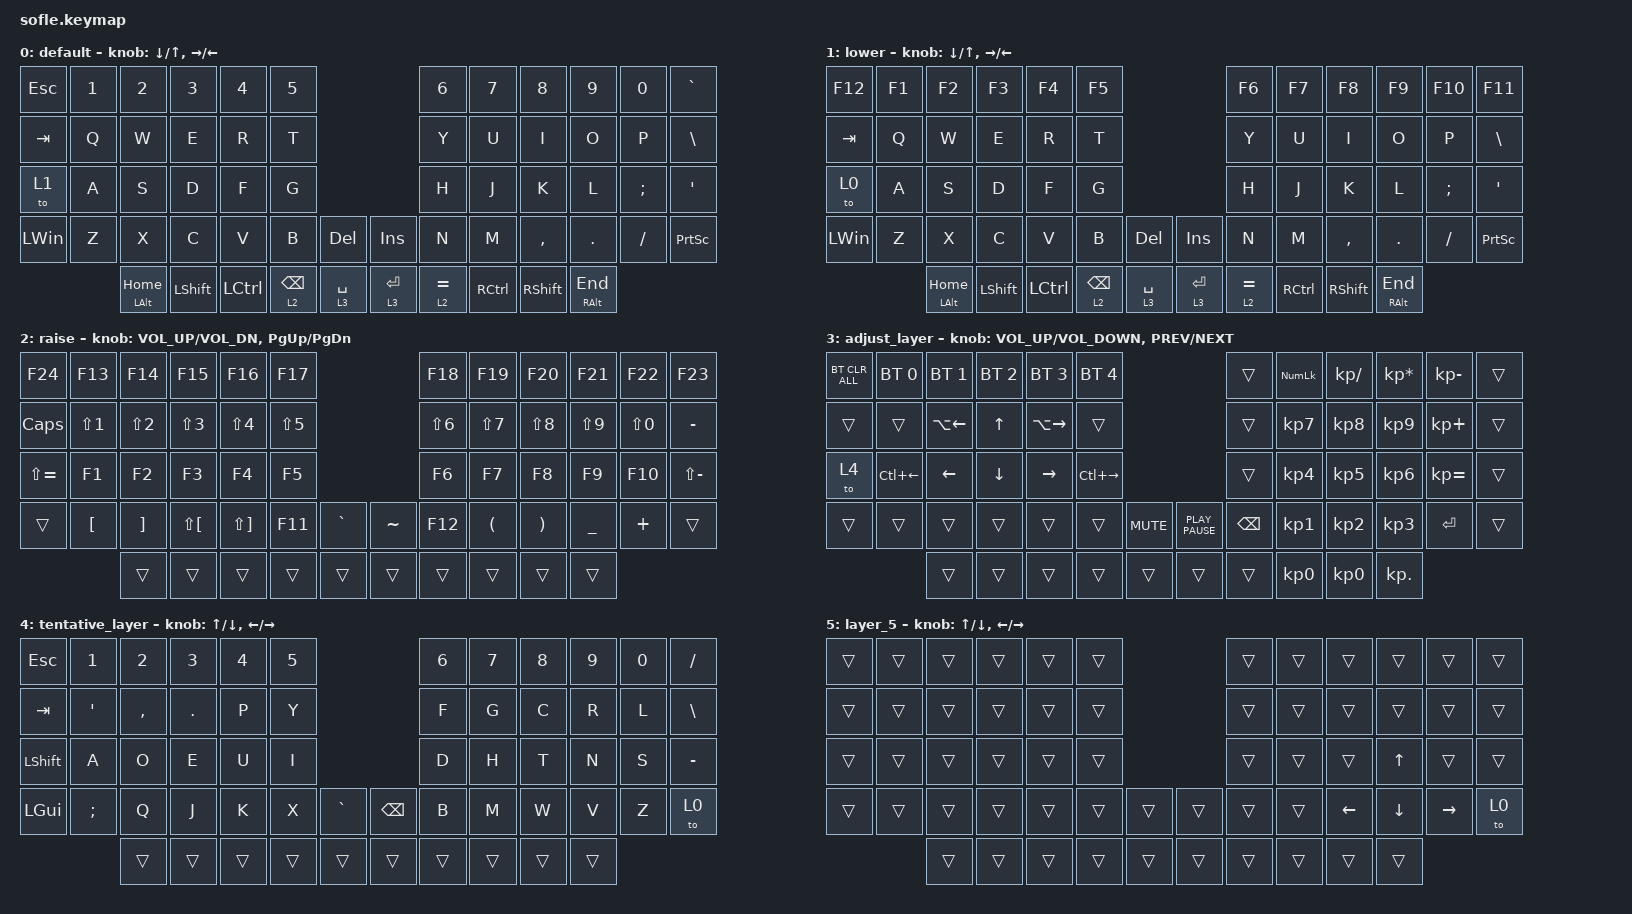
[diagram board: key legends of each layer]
/*
 * Copyright (c) 2020 The ZMK Contributors
 *
 * SPDX-License-Identifier: MIT
 */

#include <behaviors.dtsi>
#include <dt-bindings/zmk/bt.h>
#include <dt-bindings/zmk/keys.h>

#define BASE 0
#define LOWER 1
#define RAISE 2
#define ADJUST 3
#define TENTATIVE 4

/ {
    // Activate ADJUST layer by pressing raise and lower

    conditional_layers { compatible = "zmk,conditional-layers"; };

    keymap {
        compatible = "zmk,keymap";

        default_layer {
            display-name = "default";

            // ------------------------------------------------------------------------------------------------------------
            // |   `   |  1  |  2  |  3   |  4   |  5   |                   |  6   |  7    |  8    |  9   |   0   |       |
            // |  ESC  |  Q  |  W  |  E   |  R   |  T   |                   |  Y   |  U    |  I    |  O   |   P   | BKSPC |
            // |  TAB  |  A  |  S  |  D   |  F   |  G   |                   |  H   |  J    |  K    |  L   |   ;   |   '   |
            // | SHIFT |  Z  |  X  |  C   |  V   |  B   |  MUTE  |  |       |  N   |  M    |  ,    |  .   |   /   | SHIFT |
            //               | GUI | ALT  | CTRL | LOWER|  ENTER |  | SPACE | RAISE| CTRL  | ALT   | GUI  |

            bindings = <
&kp ESCAPE  &kp N1  &kp N2         &kp N3     &kp N4     &kp N5                                       &kp N6       &kp N7     &kp N8     &kp N9        &kp N0    &kp GRAVE
&kp TAB     &kp Q   &kp W          &kp E      &kp R      &kp T                                        &kp Y        &kp U      &kp I      &kp O         &kp P     &kp BACKSLASH
&to 1       &kp A   &kp S          &kp D      &kp F      &kp G                                        &kp H        &kp J      &kp K      &kp L         &kp SEMI  &kp SQT
&kp LWIN    &kp Z   &kp X          &kp C      &kp V      &kp B            &kp DEL        &kp INS      &kp N        &kp M      &kp COMMA  &kp DOT       &kp FSLH  &kp PSCRN
                    &mt LALT HOME  &kp LSHFT  &kp LCTRL  &lt 2 BACKSPACE  &lt 3 SPACE    &lt 3 ENTER  &lt 2 EQUAL  &kp RCTRL  &kp RSHFT  &mt RALT END
            >;

            sensor-bindings =
                <&inc_dec_kp DOWN_ARROW UP_ARROW>,
                <&inc_dec_kp RIGHT_ARROW LEFT_ARROW>;
        };

        lower_layer {
            display-name = "lower";

            // TODO: Some binds are waiting for shifted keycode support.
            // ------------------------------------------------------------------------------------------------------------
            // |       |  F1 |  F2 |  F3  |  F4  |  F5  |                   |  F6  |  F7   |  F8   |  F9  |  F10  |  F11  |
            // |   `   |  1  |  2  |  3   |  4   |  5   |                   |  6   |  7    |  8    |  9   |   0   |  F12  |
            // |       |  !  |  @  |  #   |  $   |  %   |                   |  ^   |  &    |  *    |  (   |   )   |   |   |
            // |       |  =  |  -  |  +   |  {   |  }   |        |  |       |  [   |  ]    |  ;    |  :   |   \   |       |
            //               |     |      |      |      |        |  |       |      |       |       |      |

            bindings = <
&kp F12       &kp F1  &kp F2         &kp F3     &kp F4     &kp F5                                       &kp F6       &kp F7     &kp F8     &kp F9        &kp F10   &kp F11
&kp TAB       &kp Q   &kp W          &kp E      &kp R      &kp T                                        &kp Y        &kp U      &kp I      &kp O         &kp P     &kp BACKSLASH
&to 0         &kp A   &kp S          &kp D      &kp F      &kp G                                        &kp H        &kp J      &kp K      &kp L         &kp SEMI  &kp SQT
&kp LEFT_WIN  &kp Z   &kp X          &kp C      &kp V      &kp B            &kp DEL        &kp INS      &kp N        &kp M      &kp COMMA  &kp DOT       &kp FSLH  &kp PSCRN
                      &mt LALT HOME  &kp LSHFT  &kp LCTRL  &lt 2 BACKSPACE  &lt 3 SPACE    &lt 3 ENTER  &lt 2 EQUAL  &kp RCTRL  &kp RSHFT  &mt RALT END
            >;

            sensor-bindings =
                <&inc_dec_kp DOWN_ARROW UP_ARROW>,
                <&inc_dec_kp RIGHT_ARROW LEFT_ARROW>;
        };

        raise_layer {
            display-name = "raise";

            // ------------------------------------------------------------------------------------------------------------
            // | BTCLR | BT1  | BT2  |  BT3  |  BT4  |  BT5 |                |      |      |       |      |       |       |
            // |       | INS  | PSCR | GUI   |       |      |                | PGUP |      |   ^   |      |       |       |
            // |       | ALT  | CTRL | SHIFT |       | CAPS |                | PGDN |   <- |   v   |  ->  |  DEL  | BKSPC |
            // |       | UNDO | CUT  | COPY  | PASTE |      |      |  |      |      |      |       |      |       |       |
            //                |      |       |       |      |      |  |      |      |      |       |      |

            bindings = <
&kp F24        &kp F13           &kp F14            &kp F15               &kp F16                &kp F17                             &kp F18     &kp F19               &kp F20                &kp F21         &kp F22     &kp F23
&kp CAPS       &kp LS(N1)        &kp LS(N2)         &kp LS(N3)            &kp LS(N4)             &kp LS(N5)                          &kp LS(N6)  &kp LS(N7)            &kp LS(N8)             &kp LS(N9)      &kp LS(N0)  &kp MINUS
&kp LS(EQUAL)  &kp F1            &kp F2             &kp F3                &kp F4                 &kp F5                              &kp F6      &kp F7                &kp F8                 &kp F9          &kp F10     &kp LS(MINUS)
&trans         &kp LEFT_BRACKET  &kp RIGHT_BRACKET  &kp LS(LEFT_BRACKET)  &kp LS(RIGHT_BRACKET)  &kp F11     &kp GRAVE    &kp TILDE  &kp F12     &kp LEFT_PARENTHESIS  &kp RIGHT_PARENTHESIS  &kp UNDERSCORE  &kp PLUS    &trans
                                 &trans             &trans                &trans                 &trans      &trans       &trans     &trans      &trans                &trans                 &trans
            >;

            sensor-bindings = <&inc_dec_kp C_VOL_UP C_VOL_DN &inc_dec_kp PG_UP PG_DN>;
        };

        adjust_layer {
            bindings = <
&bt BT_CLR_ALL  &bt BT_SEL 0        &bt BT_SEL 1        &bt BT_SEL 2  &bt BT_SEL 3         &bt BT_SEL 4                                         &trans         &kp KP_NUMLOCK   &kp KP_DIVIDE    &kp KP_MULTIPLY  &kp KP_MINUS  &trans
&trans          &trans              &kp LA(LEFT_ARROW)  &kp UP_ARROW  &kp LA(RIGHT_ARROW)  &trans                                               &trans         &kp KP_NUMBER_7  &kp KP_NUMBER_8  &kp KP_NUMBER_9  &kp KP_PLUS   &trans
&to 4           &kp LC(LEFT_ARROW)  &kp LEFT_ARROW      &kp DOWN      &kp RIGHT_ARROW      &kp LC(RIGHT_ARROW)                                  &trans         &kp KP_NUMBER_4  &kp KP_NUMBER_5  &kp KP_NUMBER_6  &kp KP_EQUAL  &trans
&trans          &trans              &trans              &trans        &trans               &trans               &kp C_MUTE    &kp K_PLAY_PAUSE  &kp BACKSPACE  &kp KP_NUMBER_1  &kp KP_NUMBER_2  &kp KP_NUMBER_3  &kp ENTER     &trans
                                    &trans              &trans        &trans               &trans               &trans        &trans            &trans         &kp KP_NUMBER_0  &kp KP_NUMBER_0  &kp KP_DOT
            >;

            sensor-bindings =
                <&inc_dec_kp K_VOLUME_UP K_VOLUME_DOWN>,
                <&inc_dec_kp C_PREV C_NEXT>;
        };

        tentative_layer {
            bindings = <
&kp ESC    &kp N1    &kp N2     &kp N3   &kp N4  &kp N5                         &kp N6  &kp N7  &kp N8  &kp N9  &kp N0  &kp FSLH
&kp TAB    &kp APOS  &kp COMMA  &kp DOT  &kp P   &kp Y                          &kp F   &kp G   &kp C   &kp R   &kp L   &kp BSLH
&kp LSHFT  &kp A     &kp O      &kp E    &kp U   &kp I                          &kp D   &kp H   &kp T   &kp N   &kp S   &kp MINUS
&kp LGUI   &kp SEMI  &kp Q      &kp J    &kp K   &kp X   &kp GRAVE    &kp BSPC  &kp B   &kp M   &kp W   &kp V   &kp Z   &to 0
                     &trans     &trans   &trans  &trans  &trans       &trans    &trans  &trans  &trans  &trans
            >;

            sensor-bindings =
                <&inc_dec_kp UP_ARROW DOWN_ARROW>,
                <&inc_dec_kp LEFT_ARROW RIGHT_ARROW>;
        };

        layer_5 {
            bindings = <
&trans  &trans  &trans  &trans  &trans  &trans                    &trans  &trans  &trans          &trans          &trans           &trans
&trans  &trans  &trans  &trans  &trans  &trans                    &trans  &trans  &trans          &trans          &trans           &trans
&trans  &trans  &trans  &trans  &trans  &trans                    &trans  &trans  &trans          &kp UP_ARROW    &trans           &trans
&trans  &trans  &trans  &trans  &trans  &trans  &trans    &trans  &trans  &trans  &kp LEFT_ARROW  &kp DOWN_ARROW  &kp RIGHT_ARROW  &to 0
                &trans  &trans  &trans  &trans  &trans    &trans  &trans  &trans  &trans          &trans
            >;

            sensor-bindings =
                <&inc_dec_kp UP_ARROW DOWN_ARROW>,
                <&inc_dec_kp LEFT_ARROW RIGHT_ARROW>;
        };
    };
};
